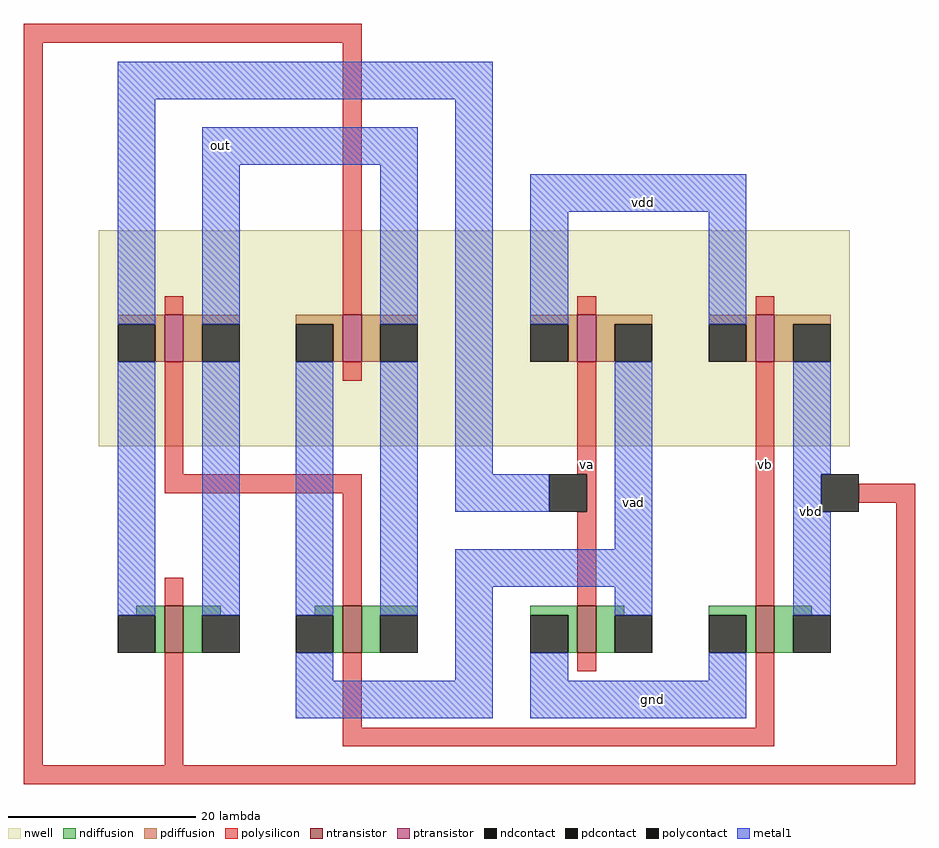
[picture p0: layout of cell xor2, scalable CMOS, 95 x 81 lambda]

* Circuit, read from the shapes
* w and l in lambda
.subckt xor2 gnd out va vad vb vbd vdd
M1 out vbd va VSUBS nfet w=5 l=2
M2 out vb vad VSUBS nfet w=5 l=2
M3 vad va gnd VSUBS nfet w=5 l=2
M4 vbd vb gnd VSUBS nfet w=5 l=2
M5 out vb va n1 pfet w=5 l=2
M6 out vbd vad n1 pfet w=5 l=2
M7 vad va vdd n1 pfet w=5 l=2
M8 vbd vb vdd n1 pfet w=5 l=2
.ends

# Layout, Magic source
magic
tech scmos
<< nwell >>
rect 70 -17 150 6
<< polysilicon >>
rect 62 26 98 28
rect 62 -51 64 26
rect 77 -3 79 -1
rect 96 -3 98 26
rect 121 -3 123 -1
rect 140 -3 142 -1
rect 77 -20 79 -8
rect 96 -10 98 -8
rect 121 -20 123 -8
rect 77 -22 98 -20
rect 77 -34 79 -31
rect 96 -34 98 -22
rect 122 -24 123 -20
rect 121 -34 123 -24
rect 140 -34 142 -8
rect 151 -23 157 -21
rect 77 -51 79 -39
rect 96 -47 98 -39
rect 121 -41 123 -39
rect 140 -47 142 -39
rect 96 -49 142 -47
rect 155 -51 157 -23
rect 62 -53 157 -51
<< ndiffusion >>
rect 74 -35 77 -34
rect 76 -39 77 -35
rect 79 -35 83 -34
rect 93 -35 96 -34
rect 79 -39 81 -35
rect 95 -39 96 -35
rect 98 -35 104 -34
rect 98 -39 100 -35
rect 116 -35 121 -34
rect 120 -39 121 -35
rect 123 -35 126 -34
rect 135 -35 140 -34
rect 123 -39 125 -35
rect 139 -39 140 -35
rect 142 -35 146 -34
rect 142 -39 144 -35
<< pdiffusion >>
rect 72 -4 77 -3
rect 76 -8 77 -4
rect 79 -4 85 -3
rect 79 -8 81 -4
rect 91 -4 96 -3
rect 95 -8 96 -4
rect 98 -4 104 -3
rect 98 -8 100 -4
rect 116 -4 121 -3
rect 120 -8 121 -4
rect 123 -4 129 -3
rect 123 -8 125 -4
rect 135 -4 140 -3
rect 139 -8 140 -4
rect 142 -4 148 -3
rect 142 -8 144 -4
<< metal1 >>
rect 72 20 112 24
rect 72 -4 76 20
rect 72 -35 76 -8
rect 81 13 104 17
rect 81 -4 85 13
rect 100 -4 104 13
rect 81 -35 85 -8
rect 91 -35 95 -8
rect 100 -35 104 -8
rect 108 -20 112 20
rect 116 8 139 12
rect 116 -4 120 8
rect 135 -4 139 8
rect 108 -24 118 -20
rect 125 -28 129 -8
rect 108 -32 129 -28
rect 91 -42 95 -39
rect 108 -42 112 -32
rect 125 -35 129 -32
rect 144 -20 148 -8
rect 144 -24 147 -20
rect 144 -35 148 -24
rect 91 -46 112 -42
rect 116 -42 120 -39
rect 135 -42 139 -39
rect 116 -46 139 -42
<< ntransistor >>
rect 77 -39 79 -34
rect 96 -39 98 -34
rect 121 -39 123 -34
rect 140 -39 142 -34
<< ptransistor >>
rect 77 -8 79 -3
rect 96 -8 98 -3
rect 121 -8 123 -3
rect 140 -8 142 -3
<< polycontact >>
rect 118 -24 122 -20
rect 147 -24 151 -20
<< ndcontact >>
rect 72 -39 76 -35
rect 81 -39 85 -35
rect 91 -39 95 -35
rect 100 -39 104 -35
rect 116 -39 120 -35
rect 125 -39 129 -35
rect 135 -39 139 -35
rect 144 -39 148 -35
<< pdcontact >>
rect 72 -8 76 -4
rect 81 -8 85 -4
rect 91 -8 95 -4
rect 100 -8 104 -4
rect 116 -8 120 -4
rect 125 -8 129 -4
rect 135 -8 139 -4
rect 144 -8 148 -4
<< labels >>
rlabel metal1 83 15 83 15 1 out
rlabel metal1 129 -44 129 -44 1 gnd
rlabel metal1 128 9 128 9 1 vdd
rlabel polysilicon 122 -19 122 -19 1 va
rlabel polysilicon 141 -19 141 -19 1 vb
rlabel metal1 127 -23 127 -23 1 vad
rlabel metal1 146 -24 146 -24 1 vbd
<< end >>
